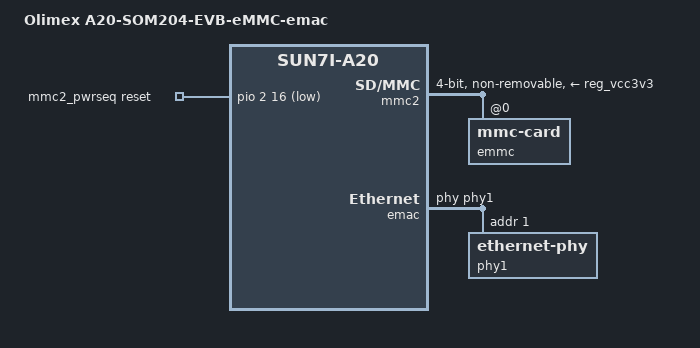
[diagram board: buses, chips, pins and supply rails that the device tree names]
// SPDX-License-Identifier: (GPL-2.0+ OR MIT)
/*
 * Device Tree Source for A20-SOM204-EVB-eMMC Board
 * and EMAC ethernet port
 *
 * Copyright (C) 2018, Oleg Strelkov <o.strelkov@gmail.com>
 */

/dts-v1/;
#include "sun7i-a20-olimex-som204-evb.dts"

/ {
	model = "Olimex A20-SOM204-EVB-eMMC-emac";
	compatible = "olimex,a20-olimex-som204-evb-emmc", "allwinner,sun7i-a20";

	mmc2_pwrseq: mmc2_pwrseq {
		compatible = "mmc-pwrseq-emmc";
		reset-gpios = <&pio 2 16 GPIO_ACTIVE_LOW>;
	};
};

&mmc2 {
	pinctrl-names = "default";
	pinctrl-0 = <&mmc2_pins_a>;
	vmmc-supply = <&reg_vcc3v3>;
	mmc-pwrseq = <&mmc2_pwrseq>;
	bus-width = <4>;
	non-removable;
	status = "okay";

	emmc: emmc@0 {
		reg = <0>;
		compatible = "mmc-card";
		broken-hpi;
	};
};

&gmac {
	status = "disabled";
};

&emac {
	pinctrl-names = "default";
	pinctrl-0 = <&emac_pins_h>;
	phy = <&phy1>;
	status = "okay";

	phy1: ethernet-phy@1 {
		reg = <1>;
	};
};
